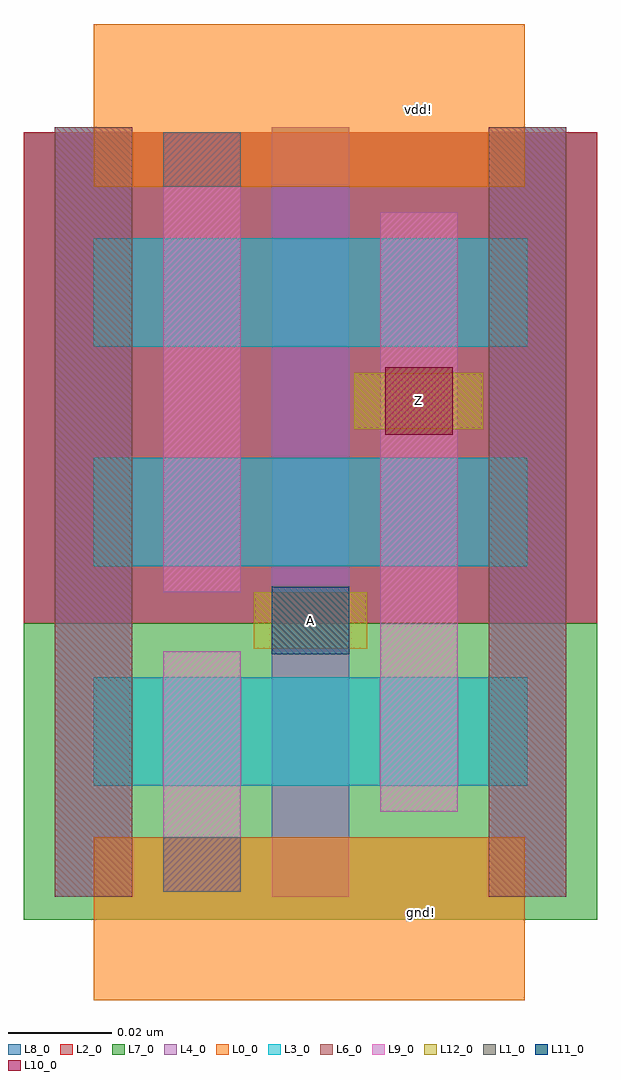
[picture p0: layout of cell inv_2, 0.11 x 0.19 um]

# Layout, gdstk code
import gdstk
lib = gdstk.Library(unit=1e-6, precision=5e-10)
def R(c, l, rs):  # rectangles x0, y0, x1, y1
    for r in rs: c.add(gdstk.rectangle(r[:2], r[2:], *l))
def A(c, l, x, y, w, h, nx, ny, dx, dy):  # array of equal rectangles
    R(c, l, [(x+i*dx, y+j*dy, x+i*dx+w, y+j*dy+h) for i in range(nx) for j in range(ny)])
L0_0 = (0, 0)
L1_0 = (1, 0)
L2_0 = (2, 0)
L3_0 = (3, 0)
L4_0 = (4, 0)
L6_0 = (6, 0)
L7_0 = (7, 0)
L8_0 = (8, 0)
L9_0 = (9, 0)
L10_0 = (10, 0)
L11_0 = (11, 0)
L12_0 = (12, 0)

nmos = lib.new_cell('nmos')
R(nmos, L3_0, [(-0.042,-0.0105,0.042,0.0105)])
A(nmos, L4_0, -0.0495, -0.032, 0.015, 0.064, 3, 1, 0.042, 0)
R(nmos, L7_0, [(-0.0555,-0.021,0.0555,0.0205)])
R(nmos, L9_0, [(-0.0285,-0.0155,-0.0135,0.0155), (0.0135,-0.0155,0.0285,0.0155)])

pmos = lib.new_cell('pmos')
R(pmos, L2_0, [(-0.042,-0.0205,0.042,0.0205)])
R(pmos, L3_0, [(-0.042,-0.0105,0.042,0.0105)])
A(pmos, L4_0, -0.0495, -0.032, 0.015, 0.064, 3, 1, 0.042, 0)
R(pmos, L8_0, [(-0.0555,-0.0205,0.0555,0.0205)])
R(pmos, L9_0, [(-0.0285,-0.0155,-0.0135,0.0155), (0.0135,-0.0155,0.0285,0.0155)])

bpr_m0a = lib.new_cell('BPR_M0A')
R(bpr_m0a, L0_0, [(-0.021,-0.0055,0.021,0.026)])
R(bpr_m0a, L1_0, [(-0.0075,-0.0055,0.0075,0.005)])
R(bpr_m0a, L9_0, [(-0.0075,-0.0165,0.0075,0.005)])

m0a_m0b = lib.new_cell('M0A_M0B')
R(m0a_m0b, L9_0, [(-0.0075,-0.0055,0.0075,0.0055)])
R(m0a_m0b, L10_0, [(-0.0065,-0.0065,0.0065,0.0065)])
R(m0a_m0b, L12_0, [(-0.0125,-0.0055,0.0125,0.0055)])

gate_m0b = lib.new_cell('GATE_M0B')
R(gate_m0b, L4_0, [(-0.0075,-0.0115,0.0075,0.0115)])
R(gate_m0b, L11_0, [(-0.0075,-0.0065,0.0075,0.0065)])
R(gate_m0b, L12_0, [(-0.011,-0.0055,0.011,0.0055)])

inv_2 = lib.new_cell('inv_2')
R(inv_2, L0_0, [(-0.042,-0.052,0.0415,-0.0205), (0.012,-0.0415,0.031,-0.0285), (-0.042,0.1055,0.0415,0.137), (0.0105,0.114,0.0315,0.127)])
R(inv_2, L2_0, [(-0.0555,0.021,0.0555,0.116)])
R(inv_2, L6_0, [(-0.0495,-0.032,-0.0345,0.117), (0.0345,-0.032,0.0495,0.117)])
R(inv_2, L7_0, [(-0.0555,-0.0365,0.0555,0.021)])
R(inv_2, L8_0, [(-0.0555,0.021,0.0555,0.116)])
R(inv_2, L9_0, [(0.0135,0.0155,0.0285,0.027), (-0.0285,0.058,-0.0135,0.0695), (0.0135,0.058,0.0285,0.0695)])
R(inv_2, L12_0, [(-0.0075,0.016,0.0075,0.027), (0.0135,0.0585,0.0285,0.0695)])
inv_2.add(gdstk.Reference(nmos, (0,0)))
inv_2.add(gdstk.Reference(pmos, (0,0.085)))
inv_2.add(gdstk.Reference(pmos, (0,0.0425)))
inv_2.add(gdstk.Reference(bpr_m0a, (-0.021,-0.026), x_reflection=True))
inv_2.add(gdstk.Reference(bpr_m0a, (-0.021,0.111)))
inv_2.add(gdstk.Reference(m0a_m0b, (0.021,0.064)))
inv_2.add(gdstk.Reference(gate_m0b, (0,0.0215)))
inv_2.add(gdstk.Label('gnd!', (0.0215,-0.035), layer=0, texttype=0))
inv_2.add(gdstk.Label('vdd!', (0.021,0.1205), layer=0, texttype=0))
inv_2.add(gdstk.Label('Z', (0.021,0.064), layer=12, texttype=0))
inv_2.add(gdstk.Label('A', (0,0.0215), layer=12, texttype=0))

lib.write_gds('inv_2.gds')
